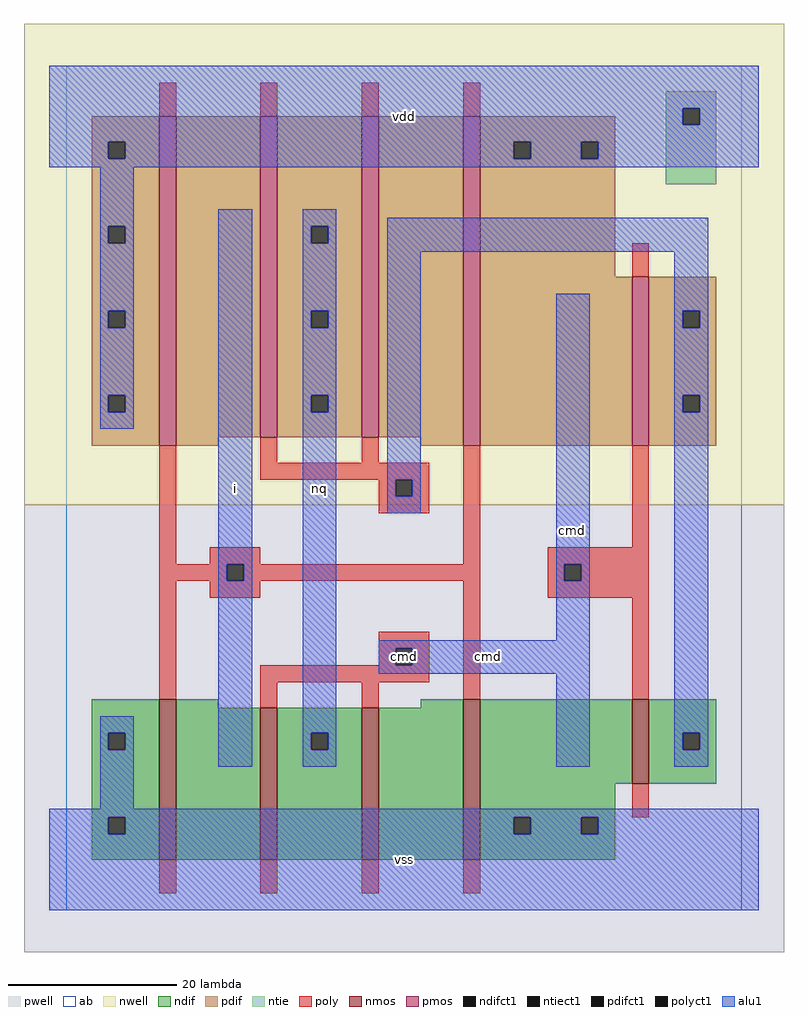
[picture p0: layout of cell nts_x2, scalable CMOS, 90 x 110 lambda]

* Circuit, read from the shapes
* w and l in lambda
.subckt nts_x2 cmd i nq vdd vss
M1 n1 i vss VSUBS nfet w=19 l=2
M2 nq cmd n1 VSUBS nfet w=18 l=2
M3 n2 cmd nq VSUBS nfet w=18 l=2
M4 vss i n2 VSUBS nfet w=19 l=2
M5 n3 cmd vss VSUBS nfet w=10 l=2
M6 n4 i vdd vdd pfet w=39 l=2
M7 nq n3 n4 vdd pfet w=38 l=2
M8 n5 n3 nq vdd pfet w=38 l=2
M9 vdd i n5 vdd pfet w=39 l=2
M10 n3 cmd vdd vdd pfet w=20 l=2
.ends

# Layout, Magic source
magic
tech scmos
<< ab >>
rect 0 0 80 100
<< nwell >>
rect -5 48 85 105
<< pwell >>
rect -5 -5 85 48
<< poly >>
rect 11 94 13 98
rect 23 94 25 98
rect 35 94 37 98
rect 47 94 49 98
rect 11 41 13 55
rect 23 53 25 56
rect 35 53 37 56
rect 67 75 69 79
rect 23 51 43 53
rect 37 49 39 51
rect 41 49 43 51
rect 37 47 43 49
rect 17 41 23 43
rect 47 41 49 55
rect 67 43 69 55
rect 11 39 19 41
rect 21 39 49 41
rect 11 25 13 39
rect 17 37 23 39
rect 37 31 43 33
rect 37 29 39 31
rect 41 29 43 31
rect 23 27 43 29
rect 23 24 25 27
rect 35 24 37 27
rect 47 25 49 39
rect 57 41 69 43
rect 57 39 59 41
rect 61 39 69 41
rect 57 37 69 39
rect 67 25 69 37
rect 67 11 69 15
rect 11 2 13 6
rect 23 2 25 6
rect 35 2 37 6
rect 47 2 49 6
<< ndif >>
rect 3 21 11 25
rect 3 19 5 21
rect 7 19 11 21
rect 3 11 11 19
rect 3 9 5 11
rect 7 9 11 11
rect 3 6 11 9
rect 13 24 18 25
rect 42 24 47 25
rect 13 6 23 24
rect 25 21 35 24
rect 25 19 29 21
rect 31 19 35 21
rect 25 6 35 19
rect 37 6 47 24
rect 49 15 67 25
rect 69 21 77 25
rect 69 19 73 21
rect 75 19 77 21
rect 69 15 77 19
rect 49 11 65 15
rect 49 9 53 11
rect 55 9 61 11
rect 63 9 65 11
rect 49 6 65 9
<< pdif >>
rect 3 91 11 94
rect 3 89 5 91
rect 7 89 11 91
rect 3 81 11 89
rect 3 79 5 81
rect 7 79 11 81
rect 3 71 11 79
rect 3 69 5 71
rect 7 69 11 71
rect 3 61 11 69
rect 3 59 5 61
rect 7 59 11 61
rect 3 55 11 59
rect 13 56 23 94
rect 25 81 35 94
rect 25 79 29 81
rect 31 79 35 81
rect 25 71 35 79
rect 25 69 29 71
rect 31 69 35 71
rect 25 61 35 69
rect 25 59 29 61
rect 31 59 35 61
rect 25 56 35 59
rect 37 56 47 94
rect 13 55 18 56
rect 42 55 47 56
rect 49 91 65 94
rect 49 89 53 91
rect 55 89 61 91
rect 63 89 65 91
rect 49 75 65 89
rect 49 55 67 75
rect 69 71 77 75
rect 69 69 73 71
rect 75 69 77 71
rect 69 61 77 69
rect 69 59 73 61
rect 75 59 77 61
rect 69 55 77 59
<< alu1 >>
rect -2 95 82 100
rect -2 93 73 95
rect 75 93 82 95
rect -2 91 82 93
rect -2 89 5 91
rect 7 89 53 91
rect 55 89 61 91
rect 63 89 82 91
rect -2 88 82 89
rect 4 81 8 88
rect 4 79 5 81
rect 7 79 8 81
rect 4 71 8 79
rect 4 69 5 71
rect 7 69 8 71
rect 4 61 8 69
rect 4 59 5 61
rect 7 59 8 61
rect 4 57 8 59
rect 18 41 22 83
rect 18 39 19 41
rect 21 39 22 41
rect 4 21 8 23
rect 4 19 5 21
rect 7 19 8 21
rect 4 12 8 19
rect 18 17 22 39
rect 28 81 32 83
rect 28 79 29 81
rect 31 79 32 81
rect 28 71 32 79
rect 28 69 29 71
rect 31 69 32 71
rect 28 61 32 69
rect 28 59 29 61
rect 31 59 32 61
rect 28 21 32 59
rect 38 78 76 82
rect 38 51 42 78
rect 38 49 39 51
rect 41 49 42 51
rect 38 47 42 49
rect 58 41 62 73
rect 58 39 59 41
rect 61 39 62 41
rect 58 32 62 39
rect 37 31 62 32
rect 37 29 39 31
rect 41 29 62 31
rect 37 28 62 29
rect 28 19 29 21
rect 31 19 32 21
rect 28 17 32 19
rect 58 17 62 28
rect 72 71 76 78
rect 72 69 73 71
rect 75 69 76 71
rect 72 61 76 69
rect 72 59 73 61
rect 75 59 76 61
rect 72 21 76 59
rect 72 19 73 21
rect 75 19 76 21
rect 72 17 76 19
rect -2 11 82 12
rect -2 9 5 11
rect 7 9 53 11
rect 55 9 61 11
rect 63 9 82 11
rect -2 0 82 9
<< ntie >>
rect 71 95 77 97
rect 71 93 73 95
rect 75 93 77 95
rect 71 86 77 93
<< nmos >>
rect 11 6 13 25
rect 23 6 25 24
rect 35 6 37 24
rect 47 6 49 25
rect 67 15 69 25
<< pmos >>
rect 11 55 13 94
rect 23 56 25 94
rect 35 56 37 94
rect 47 55 49 94
rect 67 55 69 75
<< polyct1 >>
rect 39 49 41 51
rect 19 39 21 41
rect 39 29 41 31
rect 59 39 61 41
<< ndifct1 >>
rect 5 19 7 21
rect 5 9 7 11
rect 29 19 31 21
rect 73 19 75 21
rect 53 9 55 11
rect 61 9 63 11
<< ntiect1 >>
rect 73 93 75 95
<< pdifct1 >>
rect 5 89 7 91
rect 5 79 7 81
rect 5 69 7 71
rect 5 59 7 61
rect 29 79 31 81
rect 29 69 31 71
rect 29 59 31 61
rect 53 89 55 91
rect 61 89 63 91
rect 73 69 75 71
rect 73 59 75 61
<< labels >>
rlabel alu1 30 50 30 50 6 nq
rlabel alu1 20 50 20 50 6 i
rlabel alu1 40 6 40 6 6 vss
rlabel polyct1 40 30 40 30 6 cmd
rlabel alu1 50 30 50 30 6 cmd
rlabel alu1 40 94 40 94 6 vdd
rlabel alu1 60 45 60 45 6 cmd
<< end >>
